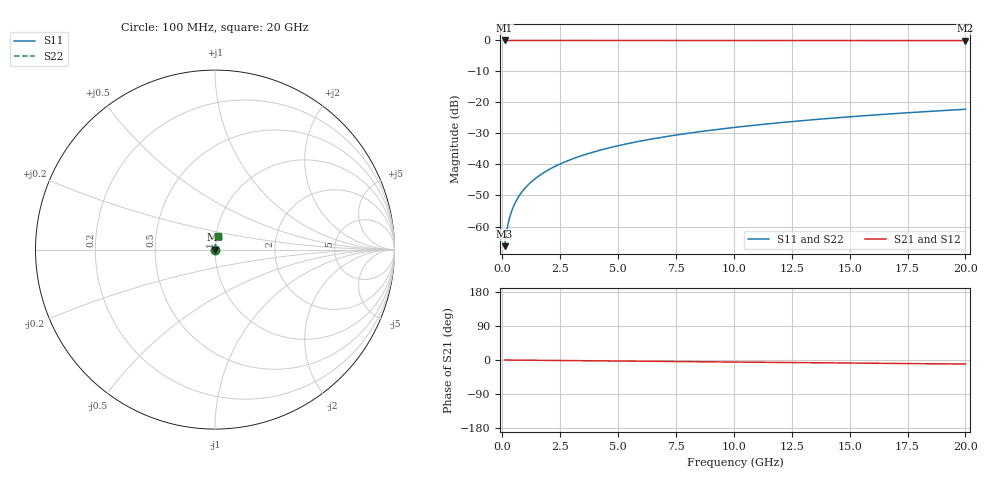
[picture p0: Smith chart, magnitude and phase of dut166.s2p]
! Touchstone file exported from HFSS 2026.1.0
!  File:  C:/ffzhzh/LocalFiles/Ansys_Project_Files/temp_train_TSV_166_1782990937_6248.aedt
!  Generated:  07:17:25 PM Jul  2, 2026
!  Design:  TSV
!  Project:  temp_train_TSV_166_1782990937_6248
! Variables:
!  h_bsmrdl = 2um
!  h_ox = 20um
!  h_rdl = 5um
!  h_sub = 93.59um
!  h_tmrdl = 5um
!  h_tsv = 93.59um
!  h_via = 3um
!  l_bsmrdl = 300um
!  l_sub = 415.96um
!  l_tmrdl = 200um
!  m_sub = 200um
!  pitch = 59.35um
!  r_tsv = 7.98um
!  s_tmrdl = 10um
!  w_bsmrdl = 18um
!  w_sub = 500um
!  w_tmrdl = 12um
!  x_tsv_center1 = 206um
!  x_tsv_center2 = 524um
!  x_tsv_center3 = 736um
!  x_tsv_center4 = 1054um
!  x_tsv_center5 = 1266um
!  x_tsv_center6 = 1584um
# GHz S MA R 50.000000
! Terminal data exported
! Port[1] = TSV1_1_T1
! Port[2] = TSV1_1_T2
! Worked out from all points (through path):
!   200 points, 100 MHz to 20 GHz, reference 50 ohm
!   highest |S21| = 0.00 dB at 100 MHz (marker M1); lowest = 0.0 dB at 20 GHz (marker M2)
!   group delay of S21, straight-line fit = 1.48 ps
!   lowest |S11| = -66.3 dB at 100 MHz (marker M3), VSWR 1.00, Z = 50 + j0.0438 ohm
!   |S11| at or under -10 dB: start of sweep to end of sweep
!   |S22| runs from -66.3 to -22.2 dB; largest |S21 - S12| = 2.2e-15
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0.1  0.0004818 65.3  0.9998 -0.1  0.9998 -0.1  0.0004818 65.3
! Gamma 0 0 0 0
! Port Impedance 50 0 50 0
0.2  0.0008991 76.3  0.9998 -0.1  0.9998 -0.1  0.0008991 76.3
0.3  0.001326 80.0  0.9998 -0.2  0.9998 -0.2  0.001326 80.0
0.4  0.001752 81.7  0.9998 -0.2  0.9998 -0.2  0.001752 81.7
0.5  0.002174 82.6  0.9997 -0.3  0.9997 -0.3  0.002174 82.6
0.6  0.002593 83.2  0.9997 -0.3  0.9997 -0.3  0.002593 83.2
0.7  0.003007 83.5  0.9997 -0.4  0.9997 -0.4  0.003007 83.5
0.8  0.003417 83.8  0.9997 -0.4  0.9997 -0.4  0.003417 83.8
1  0.004229 84.2  0.9996 -0.6  0.9996 -0.6  0.004229 84.2
1.4  0.005832 84.7  0.9995 -0.8  0.9995 -0.8  0.005832 84.7
1.7  0.007026 85.0  0.9995 -0.9  0.9995 -0.9  0.007026 85.0
2  0.008217 85.1  0.9994 -1.1  0.9994 -1.1  0.008217 85.1
2.7  0.01099 85.3  0.9993 -1.5  0.9993 -1.5  0.01099 85.3
3.5  0.01416 85.3  0.9992 -1.9  0.9992 -1.9  0.01416 85.3
4.2  0.01691 85.2  0.9991 -2.3  0.9991 -2.3  0.01691 85.2
5  0.02006 84.9  0.999 -2.7  0.999 -2.7  0.02006 84.9
6.8  0.0271 84.3  0.9987 -3.7  0.9987 -3.7  0.0271 84.3
8.3  0.03293 83.7  0.9984 -4.5  0.9984 -4.5  0.03293 83.7
10.1  0.03991 82.9  0.998 -5.4  0.998 -5.4  0.03991 82.9
13.4  0.05262 81.3  0.9973 -7.2  0.9973 -7.2  0.05262 81.3
16.7  0.06523 79.7  0.9964 -8.9  0.9964 -8.9  0.06523 79.7
20  0.0777 78.1  0.9953 -10.7  0.9953 -10.7  0.0777 78.1
